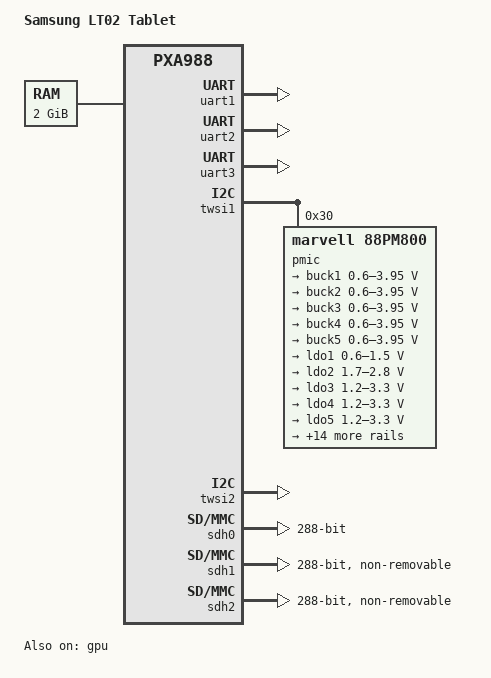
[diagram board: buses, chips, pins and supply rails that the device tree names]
/*
 *  dts file for PXA986 as found on LT02 (Galaxy Tab 3 7.0")
 *  Copyright (C) 2016  Taylor Smock
 *
 *  This program is free software; you can redistribute it and/or modify
 *  it under the terms of the GNU General Public License as published by
 *  the Free Software Foundation; either version 2 of the License, or
 *  (at your option) any later version.
 *
 *  This program is distributed in the hope that it will be useful,
 *  but WITHOUT ANY WARRANTY; without even the implied warranty of
 *  MERCHANTABILITY or FITNESS FOR A PARTICULAR PURPOSE.  See the
 *  GNU General Public License for more details.
 *
 *  You should have received a copy of the GNU General Public License along
 *  with this program; if not, write to the Free Software Foundation, Inc.,
 *  51 Franklin Street, Fifth Floor, Boston, MA 02110-1301 USA.
 */

/*
 * The LT02 board comes with several options.
 * At this point, use CONFIG_ARM_APPENDED_DTB.
 *
 * Memory options:
 *  4G
 *
 * NAND options:
 *  8G NAND
 *
 * Audio options:
 *  A:
 *
 * Touchscreen options:
 *  I: Zinitix BT532 Touchscreen
 *
 * USB options:
 *  U1: fsa9480 micro USB
 *
 * WiFi options:
 *  W: Marvell SD8787
 *
 * GPIOs used on LT02
 *  128 volup_key
 *  129 voldown_key
 *  133 battery-irq
 *  140 headset com detect
 *  141 home_key
 *  218 sdhci-pxav3.0 cd
 *  220 proximity_int
 *  221 fsa9480 micro USB
 *  222 bt532_ts_device
 *  252 88pm805
 *
 * Drivers of interest:
 * mwifiex -- WiFi
 * bt_mrvl -- Bluetooth
 * 88PM80x -- RTC support
 * RTC_DRV_SA1100 -- RTC support
 * 88pm80x-onkey -- On Key reporting
 * 88PM800 -- Voltage regulator chip
 * 88PM860x -- Backlight bindings
 * GP2AP020A00F -- Light/Proximity sensor
 * BMC150 (may need BMA222E/BMM050) -- Accelerometer
 * etnaviv -- DRM graphics driver
 * UIO_CODA7542 -- multiformat video decoder engine (not mainlined)
 * STC3115/SMB358 -- battery driver (not mainlined)
 * video_mmp -- camera?
 * SR130PC10/SR352 -- camera? (not mainlined)
 * SND_MMP_SOC -- sound
 * SND_PXA988_SOC -- sound (not mainlined)
 * MMP_TDMA -- audio
 * CONFIG_SND_SOC_EMEI_DKB -- sound (not mainlined)
 * HID_SAMSUNG -- IR?
 * CONFIG_MMC_SDHCI_PXAV3 -- storage card support
 */

/dts-v1/;
#include "pxa988.dtsi"

/ {
	model = "Samsung LT02 Tablet";
	compatible = "samsung,pxa986-lt02", "marvell,pxa986", "marvell,pxa988";

	chosen {
		bootargs = "earlyprintk rw androidboot.console=ttyS1 console=ttyS1,115200 panic_debug";
		initrd-start = "<0x01100000>"; /* 17825792 */
		initrd-end = "<0x011F4240>";   /* 18825792 (or 1m)*/
	};

	memory {
		device_type = "memory";
		reg = <0x0000000 0x80000000>; /* TODO check */
	};
	soc {
		apb@d4000000 {
			uart1: uart@d4017000 {
				status = "okay";
			};

			uart2: uart@d4018000 {
				status = "okay";
			};

			uart3: uart@d4036000 {
				status = "okay";
			};

			twsi1: i2c@d4011000 {
				status = "okay";
				/* Voltage Regulator TODO right twsi? */
				pmic: 88pm800@30 {
					compatible = "marvell,88pm800", "marvell,88pm805";
					reg = <0x30>; /* TODO check reg */

					regulators {
						buck1 { /* vcc_main */
							regulator-min-microvolt = <600000>;
							regulator-max-microvolt = <3950000>;
							regulator-boot-on;
							regulator-always-on;
						};
						buck2 { /* v_buck2 */
							regulator-min-microvolt = <600000>;
							regulator-max-microvolt = <3950000>;
							regulator-boot-on;
							regulator-always-on;
						};
						buck3 { /* v_buck3 */
							regulator-min-microvolt = <600000>;
							regulator-max-microvolt = <3950000>;
							regulator-boot-on;
							regulator-always-on;
						};
						buck4 { /* v_rf_vdd */
							regulator-min-microvolt = <600000>;
							regulator-max-microvolt = <3950000>;
							regulator-boot-on;
							regulator-always-on;
						};
						buck5 { /* v_cam_c */
							regulator-min-microvolt = <600000>;
							regulator-max-microvolt = <3950000>;
						};
						ldo1 { /* v_ldo1 */
							regulator-min-microvolt = <600000>;
							regulator-max-microvolt = <1500000>;
						};
						ldo2 { /* v_micbias */
							regulator-min-microvolt = <1700000>;
							regulator-max-microvolt = <2800000>;
							regulator-boot-on;
						};
						ldo3 { /* v_analog_2v8 */
							regulator-min-microvolt = <1200000>;
							regulator-max-microvolt = <3300000>;
							regulator-boot-on;
							regulator-always-on;
						};
						ldo4 { /* v_usim1 */
							regulator-min-microvolt = <1200000>;
							regulator-max-microvolt = <3300000>;
						};
						ldo5 { /* v_usb_3v1 */
							regulator-min-microvolt = <1200000>;
							regulator-max-microvolt = <3300000>;
							regulator-boot-on;
							regulator-always-on;
						};
						ldo6 { /* vled_ic: VLED_IC_1.9V for IRDA */
							regulator-min-microvolt = <1200000>;
							regulator-max-microvolt = <3300000>;
						};
						ldo7 { /* v_vramp_2v8 */
							regulator-min-microvolt = <1200000>;
							regulator-max-microvolt = <3300000>;
							regulator-boot-on;
							regulator-always-on;
						};
						ldo8 { /* v_ldo8: V_3M_A2.8V for Main CAM */
							regulator-min-microvolt = <1800000>;
							regulator-max-microvolt = <3300000>;
						};
						ldo9 { /* v_wib_3v3 */
							regulator-min-microvolt = <1200000>;
							regulator-max-microvolt = <3300000>;
						};
						ldo10 { /* v_proxy_2v85 */
							regulator-min-microvolt = <1200000>;
							regulator-max-microvolt = <3300000>;
						};
						ldo11: ldo11 { /* v_cam_io: V_CAM_IO_1.8V for CAM */
							regulator-min-microvolt = <1200000>;
							regulator-max-microvolt = <3300000>;
						};
						ldo12 { /* vqmmc: sdhci-pxav3.0 */
							regulator-min-microvolt = <1200000>;
							regulator-max-microvolt = <3300000>;
						};
						ldo13 { /* vmmc: sdhci-pxav3.0 */
							regulator-min-microvolt = <1200000>;
							regulator-max-microvolt = <3300000>;
						};
						ldo14 { /* v_ldo14_3v: VREG_L16_LVDS_3P3 for LVDS */
							regulator-min-microvolt = <1200000>;
							regulator-max-microvolt = <3300000>;
							regulator-boot-on;
						};
						ldo15 { /* v_proxy_led_3v3 */
							regulator-min-microvolt = <1200000>;
							regulator-max-microvolt = <3300000>;
						};
						ldo16 { /* v_lvds_1v2 */
							regulator-min-microvolt = <1200000>;
							regulator-max-microvolt = <3300000>;
							regulator-boot-on;
						};
						ldo17 { /* v_lvds_1v8 */
							regulator-min-microvolt = <1200000>;
							regulator-max-microvolt = <3300000>;
							regulator-boot-on;
						};
						ldo18 { /* v_ldo18 */
							regulator-min-microvolt = <1700000>;
							regulator-max-microvolt = <3300000>;
							regulator-boot-on;
							regulator-always-on;
						};
						ldo19 { /* v_gps_1v8 */
							regulator-min-microvolt = <1700000>;
							regulator-max-microvolt = <3300000>;
							regulator-boot-on;
							regulator-always-on;
						};
					};
				};
			};

			twsi2: i2c@d4037000 {
				status = "okay";
			};

			rtc: rtc@d4010000 {
				status = "okay";
			};

			/* SD/MMC Card Slot */
			sdh0: sdhci@d4280000 {
				compatible = "mrvl,pxav3-mmc";
				reg = <0xd4280000 0x120>;
				bus-width = <0x120>;
				interrupts = <77>; /* TODO: Check these interrupts */
				/*clocks = <TODO>;
				clock-names = "io";*/
				mrvl,clk-delay-cycles = <0x1F>;
			};
			/* WIB card */
			sdh1: sdhci@d4280800 {
				compatible = "mrvl,pxav3-mmc";
				reg = <0xd4280800 0x120>;
				bus-width = <0x120>;
				interrupts = <77>;
				/*clocks = <TODO>;
				clock-names = "io";*/
				non-removable;
			};
			/* eMMC */
			sdh2: sdhci@d4281000 {
				compatible = "mrvl,pxav3-mmc";
				reg = <0xd4281000 0x120>;
				bus-width = <0x120>;
				interrupts = <77>;
				/*clocks = <TODO>;
				clock-names = "io";*/
				non-removable;
				mrvl,clk-delay-cycles = <0xF>;
			};
		};
	};

	domains {
		gpu_domain: gpu-domain {
			#power-domain-cells = <0>;
			marvell,pmu_pwr_mask = <0x00000004>;
			marvell,pmu_iso_mask = <0x00000002>;
		};
	};

	gpu: gpu@C0400000 {
		clocks = <&divider_clk 1>;
		clock-names = "core";
		compatible = "vivante,gc";
		interrupts = <40>;
		power-domains = <&gpu_domain>;
		reg = <0xC0400000 0x2000>;
		status = "okay";
	};

	gpu-subsystem {
		compatible = "marvell,dove-gpu-subsystem";
		cores = <&gpu>;
		status = "okay";
	};

	/* Sound card (pxa2xx) */
	pcm {
		compatible = "mrvl,pxa-pcm-audio";
		#address-cells = <0>;
		#size-cells = <0>;
		status = "okay";
	};

	/* Proximity/Light Sensor */
	gp2ap020a00f@00000039 {
		compatible = "sharp,gp2ap020a00f";
		reg = <0x00000039 0x2000>; /* TODO check */
		interrupts = <220 0>; /* TODO check */
		vled-supply = <&ldo11>; /* TODO check */
	};
};

/* Marvell SD8787 WLAN/BT */
/*&sdio1 {
	status = "okay";
	non-removable;
};*/
